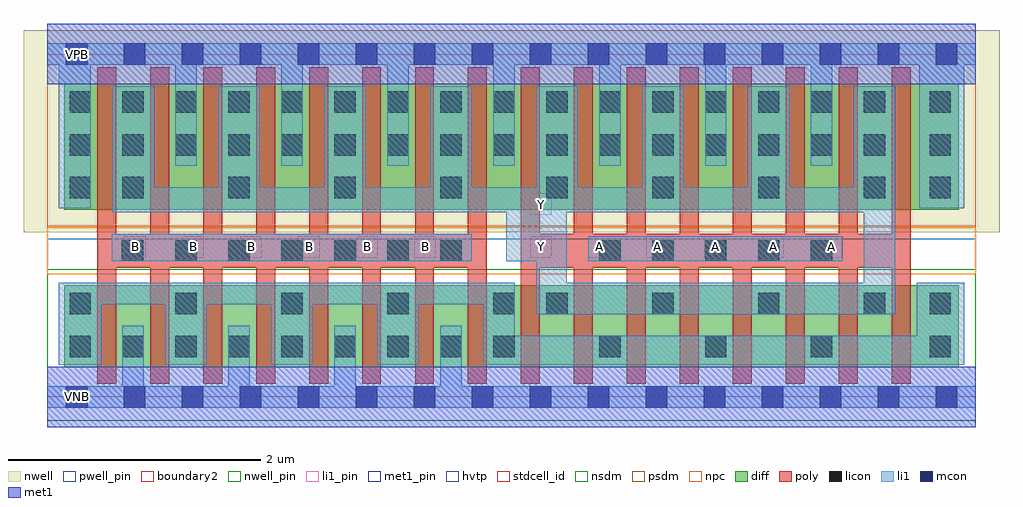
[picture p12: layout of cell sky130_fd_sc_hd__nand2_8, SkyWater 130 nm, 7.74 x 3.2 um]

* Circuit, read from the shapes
.subckt sky130_fd_sc_hd__nand2_8 A B VGND VNB VPB VPWR Y
XM1 VGND B n1 VNB sky130_fd_pr__nfet_01v8 w=0.65 l=0.15 m=8
XM2 Y A n1 VNB sky130_fd_pr__nfet_01v8 w=0.65 l=0.15 m=8
XM3 Y B VPWR VPB sky130_fd_pr__pfet_01v8_hvt w=1 l=0.15 m=8
XM4 Y A VPWR VPB sky130_fd_pr__pfet_01v8_hvt w=1 l=0.15 m=8
.ends

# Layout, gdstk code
import gdstk
lib = gdstk.Library(unit=1e-6, precision=1e-09)
def R(c, l, rs):  # rectangles x0, y0, x1, y1
    for r in rs: c.add(gdstk.rectangle(r[:2], r[2:], *l))
def A(c, l, x, y, w, h, nx, ny, dx, dy):  # array of equal rectangles
    R(c, l, [(x+i*dx, y+j*dy, x+i*dx+w, y+j*dy+h) for i in range(nx) for j in range(ny)])
def P(c, l, *ps):  # polygons
    for p in ps: c.add(gdstk.Polygon(p, *l))
nwell_pin = (64, 16)
nwell = (64, 20)
diff = (65, 20)
poly = (66, 20)
licon = (66, 44)
li1_pin = (67, 16)
li1 = (67, 20)
mcon = (67, 44)
met1_pin = (68, 16)
met1 = (68, 20)
hvtp = (78, 44)
stdcell_id = (81, 4)
nsdm = (93, 44)
psdm = (94, 20)
npc = (95, 20)
pwell_pin = (122, 16)
boundary2 = (236, 0)

sky130_fd_sc_hd__nand2_8 = lib.new_cell('sky130_fd_sc_hd__nand2_8')
R(sky130_fd_sc_hd__nand2_8, nwell_pin, [(0.15,2.635,0.32,2.805)])
R(sky130_fd_sc_hd__nand2_8, nwell, [(-0.19,1.305,7.55,2.91)])
R(sky130_fd_sc_hd__nand2_8, diff, [(0.135,0.235,7.225,0.885), (0.135,1.485,7.225,2.485)])
P(sky130_fd_sc_hd__nand2_8, poly, [(3.485,2.615),(3.335,2.615),(3.335,1.295),(3.065,1.295),(3.065,2.615),(2.915,2.615),(2.915,1.295),(2.645,1.295),(2.645,2.615),(2.495,2.615),(2.495,1.295),(2.225,1.295),(2.225,2.615),(2.075,2.615),(2.075,1.295),(1.805,1.295),(1.805,2.615),(1.655,2.615),(1.655,1.295),(1.385,1.295),(1.385,2.615),(1.235,2.615),(1.235,1.295),(0.965,1.295),(0.965,2.615),(0.815,2.615),(0.815,1.295),(0.545,1.295),(0.545,2.615),(0.395,2.615),(0.395,0.105),(0.545,0.105),(0.545,1.025),(0.815,1.025),(0.815,0.105),(0.965,0.105),(0.965,1.025),(1.235,1.025),(1.235,0.105),(1.385,0.105),(1.385,1.025),(1.655,1.025),(1.655,0.105),(1.805,0.105),(1.805,1.025),(2.075,1.025),(2.075,0.105),(2.225,0.105),(2.225,1.025),(2.495,1.025),(2.495,0.105),(2.645,0.105),(2.645,1.025),(2.915,1.025),(2.915,0.105),(3.065,0.105),(3.065,1.025),(3.335,1.025),(3.335,0.105),(3.485,0.105)],
  [(6.845,2.615),(6.695,2.615),(6.695,1.295),(6.425,1.295),(6.425,2.615),(6.275,2.615),(6.275,1.295),(6.005,1.295),(6.005,2.615),(5.855,2.615),(5.855,1.295),(5.585,1.295),(5.585,2.615),(5.435,2.615),(5.435,1.295),(5.165,1.295),(5.165,2.615),(5.015,2.615),(5.015,1.295),(4.745,1.295),(4.745,2.615),(4.595,2.615),(4.595,1.295),(4.325,1.295),(4.325,2.615),(4.175,2.615),(4.175,1.295),(3.905,1.295),(3.905,2.615),(3.755,2.615),(3.755,0.105),(3.905,0.105),(3.905,1.025),(4.175,1.025),(4.175,0.105),(4.325,0.105),(4.325,1.025),(4.595,1.025),(4.595,0.105),(4.745,0.105),(4.745,1.025),(5.015,1.025),(5.015,0.105),(5.165,0.105),(5.165,1.025),(5.435,1.025),(5.435,0.105),(5.585,0.105),(5.585,1.025),(5.855,1.025),(5.855,0.105),(6.005,0.105),(6.005,1.025),(6.275,1.025),(6.275,0.105),(6.425,0.105),(6.425,1.025),(6.695,1.025),(6.695,0.105),(6.845,0.105)])
A(sky130_fd_sc_hd__nand2_8, licon, 0.175, 0.315, 0.17, 0.17, 9, 1, 0.42, 0)
A(sky130_fd_sc_hd__nand2_8, licon, 4.375, 0.315, 0.17, 0.17, 3, 1, 0.84, 0)
A(sky130_fd_sc_hd__nand2_8, licon, 0.175, 0.655, 0.17, 0.17, 5, 1, 0.84, 0)
A(sky130_fd_sc_hd__nand2_8, licon, 3.955, 0.655, 0.17, 0.17, 4, 1, 0.84, 0)
A(sky130_fd_sc_hd__nand2_8, licon, 1.015, 1.075, 0.17, 0.17, 6, 1, 0.42, 0)
A(sky130_fd_sc_hd__nand2_8, licon, 4.375, 1.075, 0.17, 0.17, 5, 1, 0.42, 0)
A(sky130_fd_sc_hd__nand2_8, licon, 0.595, 1.575, 0.17, 0.17, 8, 1, 0.84, 0)
A(sky130_fd_sc_hd__nand2_8, licon, 6.995, 1.575, 0.17, 0.17, 1, 3, 0, 0.34)
A(sky130_fd_sc_hd__nand2_8, licon, 0.175, 1.915, 0.17, 0.17, 16, 2, 0.42, 0.34)
R(sky130_fd_sc_hd__nand2_8, licon, [(6.995,0.315,7.165,0.485), (6.995,0.655,7.165,0.825), (0.59,1.075,0.76,1.245), (0.175,1.575,0.345,1.745)])
A(sky130_fd_sc_hd__nand2_8, li1_pin, 0.61, 1.105, 0.17, 0.17, 6, 1, 0.46, 0)
A(sky130_fd_sc_hd__nand2_8, li1_pin, 3.83, 1.105, 0.17, 0.17, 6, 1, 0.46, 0)
R(sky130_fd_sc_hd__nand2_8, li1_pin, [(3.83,1.445,4,1.615)])
R(sky130_fd_sc_hd__nand2_8, li1, [(0.51,1.075,3.365,1.295), (4.29,1.075,6.305,1.275)])
P(sky130_fd_sc_hd__nand2_8, li1, [(6.725,2.465),(6.475,2.465),(6.475,0.905),(4.12,0.905),(4.12,1.465),(6.475,1.465),(6.475,2.465),(6.395,2.465),(6.395,1.665),(5.885,1.665),(5.885,2.465),(5.555,2.465),(5.555,1.665),(5.045,1.665),(5.045,2.465),(4.715,2.465),(4.715,1.665),(4.205,1.665),(4.205,2.465),(3.875,2.465),(3.875,1.665),(3.365,1.665),(3.365,2.465),(3.035,2.465),(3.035,1.665),(2.525,1.665),(2.525,2.465),(2.195,2.465),(2.195,1.665),(1.685,1.665),(1.685,2.465),(1.355,2.465),(1.355,1.665),(0.845,1.665),(0.845,2.465),(0.515,2.465),(0.515,1.465),(3.64,1.465),(3.64,1.075),(3.875,1.075),(3.875,0.655),(6.725,0.655)],
  [(7.27,0.905),(6.895,0.905),(6.895,0.485),(3.705,0.485),(3.705,0.905),(0.09,0.905),(0.09,0.255),(0.425,0.255),(0.425,0.735),(0.935,0.735),(0.935,0.255),(1.265,0.255),(1.265,0.735),(1.775,0.735),(1.775,0.255),(2.105,0.255),(2.105,0.735),(2.615,0.735),(2.615,0.255),(2.945,0.255),(2.945,0.735),(3.455,0.735),(3.455,0.255),(7.27,0.255)],
  [(7.36,2.805),(0,2.805),(0,2.635),(0.09,2.635),(0.09,1.495),(0.345,1.495),(0.345,2.635),(1.015,2.635),(1.015,1.835),(1.185,1.835),(1.185,2.635),(1.855,2.635),(1.855,1.835),(2.025,1.835),(2.025,2.635),(2.695,2.635),(2.695,1.835),(2.865,1.835),(2.865,2.635),(3.535,2.635),(3.535,1.835),(3.705,1.835),(3.705,2.635),(4.375,2.635),(4.375,1.835),(4.545,1.835),(4.545,2.635),(5.215,2.635),(5.215,1.835),(5.385,1.835),(5.385,2.635),(6.055,2.635),(6.055,1.835),(6.225,1.835),(6.225,2.635),(6.915,2.635),(6.915,1.495),(7.27,1.495),(7.27,2.635),(7.36,2.635)],
  [(7.36,0.085),(3.285,0.085),(3.285,0.565),(3.115,0.565),(3.115,0.085),(2.445,0.085),(2.445,0.565),(2.275,0.565),(2.275,0.085),(1.605,0.085),(1.605,0.565),(1.435,0.565),(1.435,0.085),(0.765,0.085),(0.765,0.565),(0.595,0.565),(0.595,0.085),(0,0.085),(0,-0.085),(7.36,-0.085)])
A(sky130_fd_sc_hd__nand2_8, mcon, 0.145, -0.085, 0.17, 0.17, 16, 2, 0.46, 2.72)
R(sky130_fd_sc_hd__nand2_8, met1_pin, [(0.15,-0.085,0.32,0.085), (0.15,2.635,0.32,2.805)])
R(sky130_fd_sc_hd__nand2_8, hvtp, [(0,1.25,7.36,2.72)])
R(sky130_fd_sc_hd__nand2_8, stdcell_id, [(0,0,7.36,2.72)])
R(sky130_fd_sc_hd__nand2_8, nsdm, [(0,-0.19,7.36,1.015)])
R(sky130_fd_sc_hd__nand2_8, psdm, [(0,1.355,7.36,2.91)])
R(sky130_fd_sc_hd__nand2_8, npc, [(0,0.975,7.36,1.345)])
R(sky130_fd_sc_hd__nand2_8, pwell_pin, [(0.15,-0.085,0.32,0.085)])
R(sky130_fd_sc_hd__nand2_8, boundary2, [(0,0,7.36,2.72)])
sky130_fd_sc_hd__nand2_8.add(gdstk.FlexPath([(0,2.72),(7.36,2.72)], 0.48, ends="flush", simple_path=True, layer=68, datatype=20))  # met1
sky130_fd_sc_hd__nand2_8.add(gdstk.FlexPath([(0,0),(7.36,0)], 0.48, ends="flush", simple_path=True, layer=68, datatype=20))  # met1
sky130_fd_sc_hd__nand2_8.add(gdstk.Label('A', (5.295,1.19), layer=67, texttype=5))
sky130_fd_sc_hd__nand2_8.add(gdstk.Label('A', (4.835,1.19), layer=67, texttype=5))
sky130_fd_sc_hd__nand2_8.add(gdstk.Label('A', (4.375,1.19), layer=67, texttype=5))
sky130_fd_sc_hd__nand2_8.add(gdstk.Label('B', (2.995,1.19), layer=67, texttype=5))
sky130_fd_sc_hd__nand2_8.add(gdstk.Label('B', (1.155,1.19), layer=67, texttype=5))
sky130_fd_sc_hd__nand2_8.add(gdstk.Label('B', (0.695,1.19), layer=67, texttype=5))
sky130_fd_sc_hd__nand2_8.add(gdstk.Label('Y', (3.915,1.53), layer=67, texttype=5))
sky130_fd_sc_hd__nand2_8.add(gdstk.Label('Y', (3.915,1.19), layer=67, texttype=5))
sky130_fd_sc_hd__nand2_8.add(gdstk.Label('A', (6.215,1.19), layer=67, texttype=5))
sky130_fd_sc_hd__nand2_8.add(gdstk.Label('A', (5.755,1.19), layer=67, texttype=5))
sky130_fd_sc_hd__nand2_8.add(gdstk.Label('B', (2.535,1.19), layer=67, texttype=5))
sky130_fd_sc_hd__nand2_8.add(gdstk.Label('B', (2.075,1.19), layer=67, texttype=5))
sky130_fd_sc_hd__nand2_8.add(gdstk.Label('B', (1.615,1.19), layer=67, texttype=5))
sky130_fd_sc_hd__nand2_8.add(gdstk.Label('VNB', (0.235,0), layer=64, texttype=59))
sky130_fd_sc_hd__nand2_8.add(gdstk.Label('VPB', (0.235,2.72), layer=64, texttype=5))
sky130_fd_sc_hd__nand2_8.add(gdstk.Label('VGND', (0.235,0), layer=68, texttype=5))
sky130_fd_sc_hd__nand2_8.add(gdstk.Label('VPWR', (0.235,2.72), layer=68, texttype=5))
sky130_fd_sc_hd__nand2_8.add(gdstk.Label('nand2_8', (0,0), layer=83, texttype=44))

lib.write_gds('sky130_fd_sc_hd__nand2_8.gds')
